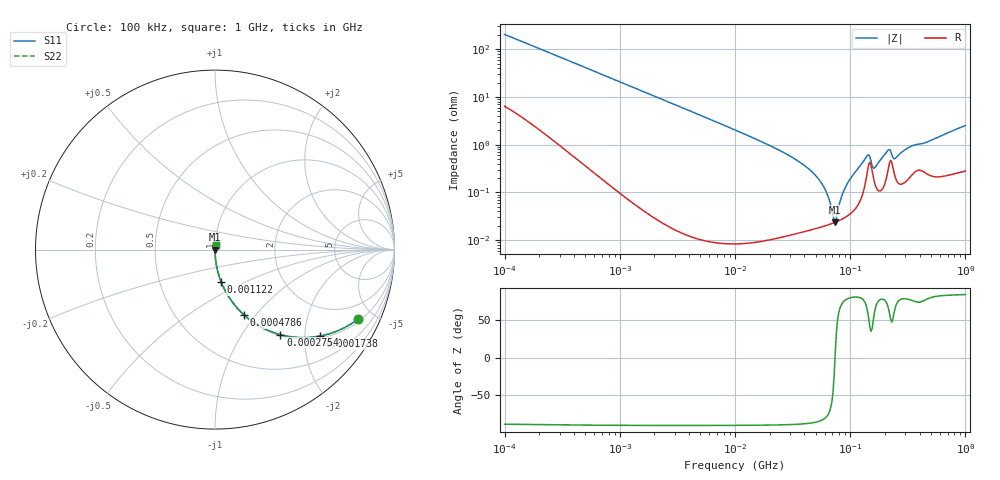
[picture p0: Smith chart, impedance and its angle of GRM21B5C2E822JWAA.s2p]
!Murata Part Number: GRM21B5C2E822JWAA
!These Parameters are Measured in Series Mode Connection
!Data Generated on Mar 30, 2021
!  o--ll--o
!Port1  Port2
!  o------o
!Operation Temp=25[degC], DC Bias Voltage=0[V]
!Freq. Start=100[kHz] Stop=1000[MHz] 401[Steps]
# Hz S RI R 50
!Freq.(Hz) S11(Real) S11(Imag) S21(Real) S21(Imag) S12(Real) S12(Imag) S22(Real) S22(Imag)
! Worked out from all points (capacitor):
!   401 points, 100 kHz to 1 GHz, reference 50 ohm
!   read as one part in series: C = 7.75 nF near 104.7 kHz
!   lowest |Z| = 23.8 mohm at 74.13 MHz (marker M1)
!   series resonance near 73.85 MHz, so ESL is about 600 pH
!   S11 on the Smith chart (normalised r, x): 100 kHz: 1.13, -4.08; 173.8 kHz: 1.05, -2.38; 275.4 kHz: 1.02, -1.51; 478.6 kHz: 1.01, -0.87; 1.122 MHz: 1.00, -0.37; 1 GHz: 1.01, +0.05
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100000  0.7992 -0.3852  0.2008 0.3852  0.2008 0.3852  0.7992 -0.3852
173780  0.5837 -0.482  0.4163 0.482  0.4163 0.482  0.5837 -0.482
275423  0.364 -0.4737  0.636 0.4737  0.636 0.4737  0.364 -0.4737
467735  0.1673 -0.3687  0.8327 0.3687  0.8327 0.3687  0.1673 -0.3687
478630  0.161 -0.3631  0.839 0.3631  0.839 0.3631  0.161 -0.3631
1122018  0.034 -0.179  0.966 0.179  0.966 0.179  0.034 -0.179
2187762  0.0092 -0.0942  0.9908 0.0942  0.9908 0.0942  0.0092 -0.0942
1e7  0.0005 -0.0204  0.9995 0.0204  0.9995 0.0204  0.0005 -0.0204
2.754229e7  0.000163 -0.0065  0.9998 0.0065  0.9998 0.0065  0.000163 -0.0065
4.677351e7  0.000174 -0.00268  0.9998 0.00268  0.9998 0.00268  0.000174 -0.00268
6.025596e7  0.0002 -0.00117  0.9998 0.00117  0.9998 0.00117  0.0002 -0.00117
7.079458e7  0.000227 -0.000244  0.9998 0.000244  0.9998 0.000244  0.000227 -0.000244
7.413102e7  0.000237 2.24e-05  0.9998 -2.24e-05  0.9998 -2.24e-05  0.000237 2.24e-05
8.51138e7  0.000277 0.000842  0.9997 -0.000842  0.9997 -0.000842  0.000277 0.000842
9.332543e7  0.000316 0.00142  0.9997 -0.00142  0.9997 -0.00142  0.000316 0.00142
1.380384e8  0.00204 0.00516  0.998 -0.00516  0.998 -0.00516  0.00204 0.00516
1.44544e8  0.00378 0.00486  0.9962 -0.00486  0.9962 -0.00486  0.00378 0.00486
1.62181e8  0.00166 0.00276  0.9983 -0.00276  0.9983 -0.00276  0.00166 0.00276
2.187762e8  0.00407 0.0068  0.9959 -0.0068  0.9959 -0.0068  0.00407 0.0068
2.454709e8  0.00214 0.00466  0.9979 -0.00466  0.9979 -0.00466  0.00214 0.00466
3.388442e8  0.00231 0.00901  0.9977 -0.00901  0.9977 -0.00901  0.00231 0.00901
1e9  0.00341 0.0249  0.9966 -0.0249  0.9966 -0.0249  0.00341 0.0249
